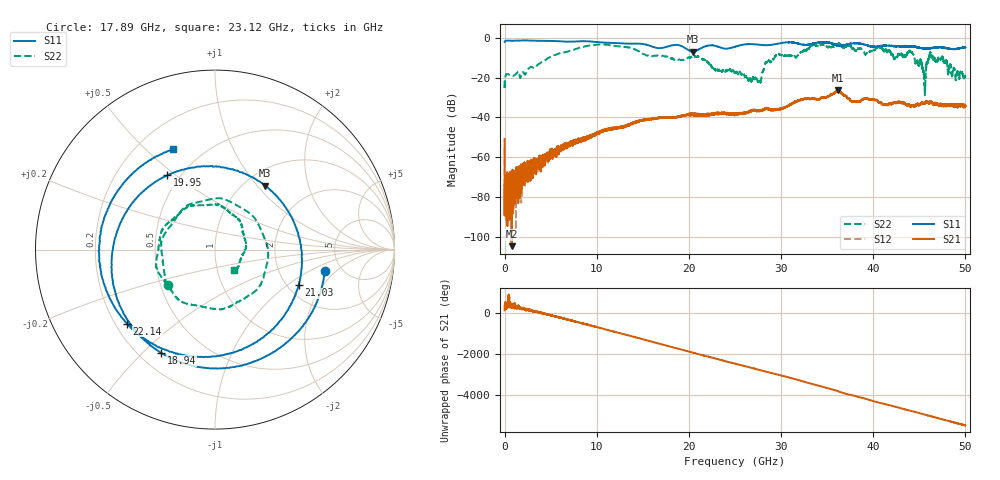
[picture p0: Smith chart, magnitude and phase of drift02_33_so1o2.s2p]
!Created with skrf (http://scikit-rf.org).
# Hz S RI R 50.0
!freq ReS11 ImS11 ReS21 ImS21 ReS12 ImS12 ReS22 ImS22
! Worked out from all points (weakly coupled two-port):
!   10001 points, 300 kHz to 50 GHz, reference 50 ohm
!   highest |S21| = -26.36 dB at 36.15 GHz (marker M1); lowest = -104.6 dB at 760.3 MHz (marker M2)
!   lowest |S11| = -6.9 dB at 20.45 GHz (marker M3), VSWR 2.65, Z = 61.3 + j54.9 ohm
!   |S11| at or under -10 dB: nowhere
!   |S22| runs from -28.9 to -2.6 dB; largest |S21 - S12| = 0.0051
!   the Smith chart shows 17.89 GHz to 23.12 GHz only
!   S11 on the Smith chart (normalised r, x): 17.89 GHz: 3.71, -1.44; 18.94 GHz: 0.29, -0.57; 19.95 GHz: 0.43, +0.47; 21.03 GHz: 2.29, -1.22; 22.14 GHz: 0.25, -0.35; 23.12 GHz: 0.35, +0.61
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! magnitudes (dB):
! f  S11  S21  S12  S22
! 300 kHz  -2.1  -50.8  -55.5  -21.6
! 255.3 MHz  -1.4  -73.2  -89.1  -18.2
! 760.3 MHz  -1.5  -104.6  -75.0  -19.1
! 8.335 GHz  -1.7  -51.1  -51.5  -4.7
! 16.67 GHz  -5.2  -40.2  -40.2  -9.0
! 17.89 GHz  -4.1  -39.9  -39.9  -9.7
! 18.94 GHz  -3.8  -39.4  -39.7  -10.8
! 19.95 GHz  -6.2  -38.6  -38.6  -9.8
! 20.45 GHz  -6.9  -38.1  -38.0  -9.7
! 21.03 GHz  -5.9  -38.5  -38.3  -9.5
! 22.14 GHz  -3.9  -38.4  -38.8  -12.9
! 23.12 GHz  -4.4  -38.1  -38.2  -16.1
! 25 GHz  -4.5  -38.3  -38.1  -17.6
! 27.62 GHz  -3.5  -36.8  -36.5  -21.7
! 29.54 GHz  -3.0  -36.0  -36.1  -8.8
! 33.34 GHz  -3.0  -30.5  -30.5  -3.8
! 36.15 GHz  -3.9  -26.4  -27.0  -3.1
! 41.67 GHz  -3.9  -33.2  -33.5  -6.3
! 44.12 GHz  -4.1  -34.4  -34.3  -7.1
! 45.5 GHz  -5.4  -33.1  -32.9  -18.0
! 46.29 GHz  -5.2  -32.5  -32.4  -9.4
! 50 GHz  -4.7  -34.4  -34.1  -19.3
